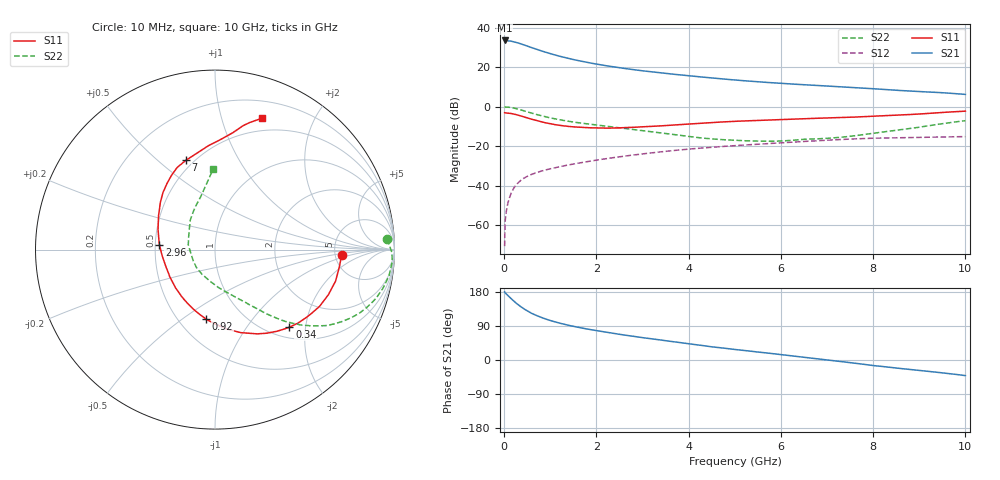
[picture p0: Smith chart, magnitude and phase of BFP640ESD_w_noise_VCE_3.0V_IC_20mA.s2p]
! Infineon Technologies  Discrete & RF Semiconductors
! BFP640ESD
! VCE =  3.0 V,  IC =  20 mA
! Common Emitter S-Parameters:  Jan 2016
# GHz  S  MA  R  50
!  f  S11  S21  S12  S22
! GHz  MAG  ANG  MAG  ANG  MAG  ANG  MAG  ANG
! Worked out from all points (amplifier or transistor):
!   233 points, 10 MHz to 10 GHz, reference 50 ohm
!   highest |S21| = 33.6 dB at 10 MHz (marker M1)
!   |S21| within 3 dB of that: start of sweep to 521.2 MHz
!   unconditionally stable (mu >= 1): start of sweep to 10.52 MHz; 3.292 GHz to 7.575 GHz
!   at 200 MHz: K = 0.19, MSG = 37.2 dB, |S12| = -41.5 dB
!   at 1.74 GHz: K = 0.88, MSG = 25.4 dB, |S12| = -28.0 dB
!   at 10 GHz: K = 0.89, MSG = 10.7 dB, |S12| = -15.0 dB
!   lowest NFmin = 0.89 dB at 450 MHz
!   S11 on the Smith chart (normalised r, x): 10 MHz: 5.82, -0.76; 340 MHz: 1.21, -1.63; 920 MHz: 0.68, -0.62; 2.96 GHz: 0.53, +0.03; 7 GHz: 0.45, +0.62; 10 GHz: 0.37, +1.36
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0.01  0.7109 -2.6  47.68 180.0  0.0003 105.0  0.9611 3.5
0.02  0.7053 -2.9  47.44 177.4  0.0012 89.7  0.9864 -1.0
0.055  0.6991 -8.1  47.03 173.0  0.0026 83.3  0.9882 -4.4
0.1  0.6944 -14.6  46.77 168.0  0.0044 82.4  0.9806 -8.5
0.19  0.6655 -27.1  44.75 157.6  0.008 76.9  0.942 -16.0
0.26  0.6351 -36.3  42.55 150.1  0.0106 73.5  0.9022 -21.2
0.34  0.5988 -46.2  39.95 142.6  0.0132 69.9  0.8515 -26.3
0.45  0.5484 -58.1  36.13 133.4  0.0163 66.2  0.7807 -32.1
0.6  0.4851 -72.6  31.32 122.9  0.0197 62.8  0.6913 -38.0
0.8  0.4188 -88.7  26.09 112.5  0.0236 60.3  0.5978 -43.4
0.92  0.3896 -97.4  23.62 107.3  0.0257 59.4  0.5532 -45.9
1.1  0.3554 -109.0  20.5 100.6  0.0288 58.8  0.4978 -48.9
1.3  0.3292 -120.7  17.82 94.2  0.0323 58.3  0.4501 -51.7
1.68  0.3015 -139.1  14.19 84.5  0.0389 57.7  0.3863 -55.9
2.2  0.2894 -160.0  11 73.4  0.0487 56.1  0.3259 -61.6
2.96  0.3108 174.9  8.259 59.7  0.0638 52.0  0.2521 -73.6
3.4  0.3304 163.1  7.213 52.6  0.0728 48.9  0.2191 -82.3
5.1  0.4352 130.9  4.67 26.6  0.1063 34.3  0.1411 -139.5
6.8  0.5148 110.6  3.456 3.3  0.1392 18.8  0.1555 162.3
7  0.5233 108.0  3.358 0.3  0.1434 16.9  0.1598 157.4
8.4  0.6062 88.4  2.67 -19.9  0.1643 0.8  0.2464 119.0
10  0.7779 70.2  2.063 -41.2  0.1769 -14.8  0.4466 91.5
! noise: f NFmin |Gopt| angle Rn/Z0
0.45  0.89  0.04  -158  0.09
0.9  0.89  0.06  -160  0.09
1.9  0.91  0.11  -131  0.1
2.4  0.93  0.12  -127  0.11
5.5  1.18  0.36  -111  0.14
10  1.75  0.58  -76  0.7
